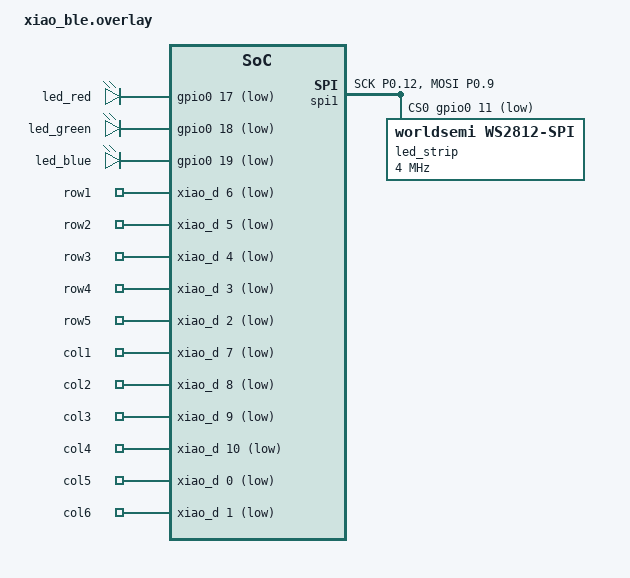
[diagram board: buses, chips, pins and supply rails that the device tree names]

/ {
    #include "left.overlay"
    

    leds {
        compatible = "gpio-leds";

        led_red: led_red {
            gpios = <&gpio0 17 GPIO_ACTIVE_LOW>;
        };

        led_green: led_green {
            gpios = <&gpio0 18 GPIO_ACTIVE_LOW>;
        };

        led_blue: led_blue {
            gpios = <&gpio0 19 GPIO_ACTIVE_LOW>;
        };

    };
        
    
    keyboard {
        compatible = "gpio-keys";

        row1: row1 {
            gpios = <&xiao_d 6 GPIO_ACTIVE_LOW>; 
        };

        row2: row2 {
            gpios = <&xiao_d 5 GPIO_ACTIVE_LOW>; 
        };

        row3: row3 {
            gpios = <&xiao_d 4 GPIO_ACTIVE_LOW>; 
        };
        row4: row4 {
            gpios = <&xiao_d 3 GPIO_ACTIVE_LOW>; 
        };
        row5: row5 {
            gpios = <&xiao_d 2 GPIO_ACTIVE_LOW>; 
        };

        col1: col1 {
            gpios = <&xiao_d 7 GPIO_ACTIVE_LOW>; 
        };

        col2: col2 {
            gpios = <&xiao_d 8 GPIO_ACTIVE_LOW>; 
        };

        col3: col3 {
            gpios = <&xiao_d 9 GPIO_ACTIVE_LOW>;  
        };

        col4: col4 {
            gpios = <&xiao_d 10 GPIO_ACTIVE_LOW>;  
        };

        col5: col5 {
            gpios = <&xiao_d 0 GPIO_ACTIVE_LOW>; 
        };

        col6: col6 {
            gpios = <&xiao_d 1 GPIO_ACTIVE_LOW>; 
        };
    };

    aliases {
        led0 = &led_red;
        led1 = &led_green;
        led2 = &led_blue;
        col1 = &col1;
        col2 = &col2;
        col3 = &col3;
        col4 = &col4;
        col5 = &col5;
        col6 = &col6;
        row1 = &row1;
        row2 = &row2;
        row3 = &row3;
        row4 = &row4;
        row5 = &row5;
    };

};
&uicr { // enable nfc as gpio
    nfct-pins-as-gpios;
};

&uart1 {
    status = "disabled";
};

/* Wyłącz wszystkie niepotrzebne UART */
&uart0 {
    status = "disabled";
};
&uart1 {
    status = "disabled";
};


/* other SPI off*/
&spi0 {
    status = "disabled";
};
&spi2 {
    status = "disabled";
};
&spi3 {
    status = "disabled";
};

/* I2C useless */
&i2c0 {
    status = "disabled";
};
&i2c1 {
    status = "disabled";
};

/* QSPI useless */
&qspi {
    status = "disabled";
};

/* PWM useless */
&pwm0 {
    status = "disabled";
};
&pwm1 {
    status = "disabled";
};
&pwm2 {
    status = "disabled";
};


&pinctrl {
    /delete-node/ spi1_default;
    /delete-node/ spi1_sleep;
    
    spi1_default: spi1_default {
        group1 {
            psels = <NRF_PSEL(SPIM_SCK, 0, 12)>,  
                   <NRF_PSEL(SPIM_MOSI, 0, 9)>,  
                   <NRF_PSEL_DISCONNECTED(SPIM_MISO)>; 
            bias-pull-down;
        };
    };

    spi1_sleep: spi1_sleep {
        group1 {
            psels = <NRF_PSEL(SPIM_SCK, 0, 12)>,
                   <NRF_PSEL(SPIM_MOSI, 0, 9)>,
                   <NRF_PSEL_DISCONNECTED(SPIM_MISO)>;
            low-power-enable;
        };
    };
};

&spi1 {
    status = "okay";
    pinctrl-0 = <&spi1_default>;
    pinctrl-1 = <&spi1_sleep>;
    pinctrl-names = "default", "sleep";
    cs-gpios = <&gpio0 11 GPIO_ACTIVE_LOW>; /* P0.11 as CS (inside pin)  */

    led_strip: led_strip@0 {
        compatible = "worldsemi,ws2812-spi";
        reg = <0>;
        chain-length = <5>;
        
        spi-cpol;
        spi-cpha;
        
        spi-max-frequency = <4000000>;
        reset-delay = <300>;
        spi-one-frame = <0xF8>;
        spi-zero-frame = <0x80>;
        
        color-mapping = <1 2 3>;
    };
};


